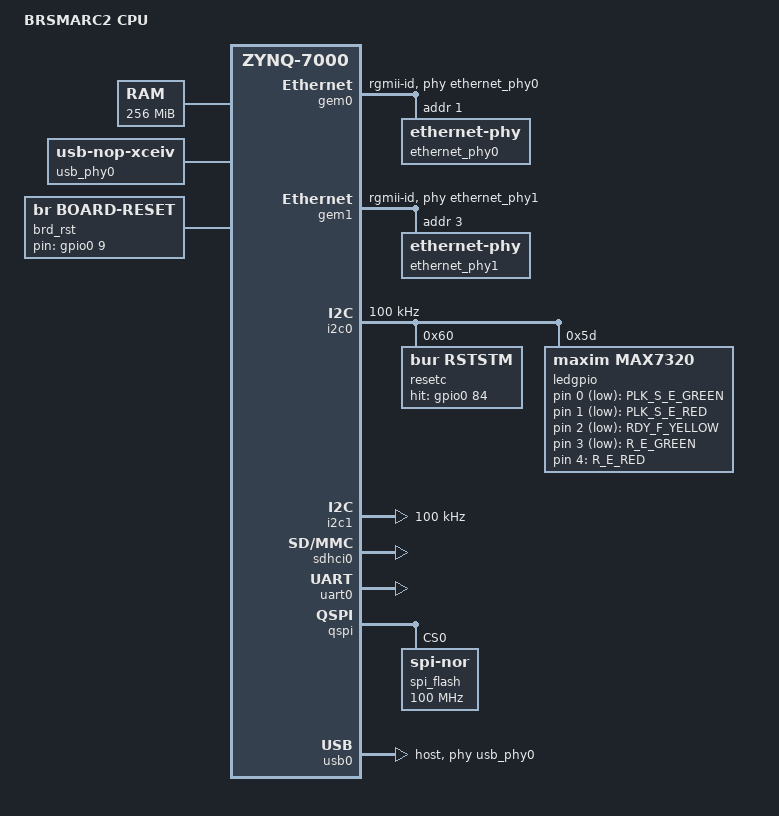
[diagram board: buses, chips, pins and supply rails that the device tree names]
// SPDX-License-Identifier: GPL-2.0+
/*
 * Copyright 2024 B&R Industrial Automation GmbH
 */

/dts-v1/;
/include/ "zynq-7000.dtsi"
#include <dt-bindings/gpio/gpio.h>

/ {
	model = "BRSMARC2 CPU";
	compatible = "br,smarc2",
		     "xlnx,zynq-7000";

	aliases {
		i2c0 = &i2c0;
		serial0 = &uart0;
		spi0 = &qspi;
		mmc0 = &sdhci0;
		can0 = &can0;
		can1 = &can1;
	};

	memory {
		device_type = "memory";
		reg = <0x0 0x10000000>;
	};

	chosen {
		stdout-path = "serial0:115200n8";
	};

	usb_phy0: phy0 {
		compatible = "usb-nop-xceiv";
		#phy-cells = <0>;
	};

	brd_rst: board_reset {
		compatible = "br,board-reset";
		pin = <&gpio0 9 GPIO_ACTIVE_HIGH>;
	};

	leds {
		compatible = "gpio-leds";
		plk_se_green {
			label = "PLK_S_E_GREEN";
			gpios = <&ledgpio 0 GPIO_ACTIVE_LOW>;
			default-state = "off";
		};
		plk_se_red {
			label = "PLK_S_E_RED";
			gpios = <&ledgpio 1 GPIO_ACTIVE_LOW>;
			default-state = "off";
		};
		rdy_f_yellow {
			label = "RDY_F_YELLOW";
			gpios = <&ledgpio 2 GPIO_ACTIVE_LOW>;
			default-state = "off";
		};
		re_green {
			label = "R_E_GREEN";
			gpios = <&ledgpio 3 GPIO_ACTIVE_LOW>;
			default-state = "off";
		};
		re_red {
			label = "R_E_RED";
			gpios = <&ledgpio 4 GPIO_ACTIVE_HIGH>;
			default-state = "off";
		};
	};
};

&gem0 {
	status = "okay";
	phy-mode = "rgmii-id";
	phy-handle = <&ethernet_phy0>;

	ethernet_phy0: ethernet-phy@1 {
		ti,ledcr = <0x0480>;
		ti,rgmii-rxclk-shift;
		reg = <1>;
	};
};

&gem1 {
	status = "okay";
	phy-mode = "rgmii-id";
	phy-handle = <&ethernet_phy1>;
	mac-address = [ 00 00 00 00 00 00 ];

	ethernet_phy1: ethernet-phy@3{
		ti,ledcr = <0x0480>;
		reg = <3>;
	};
};

&i2c0 {
	status = "okay";
	clock-frequency = <100000>;

	resetc: rststm@60 {	/* reset controller */
		compatible = "bur,rststm";
		reg = <0x60>;
		hit-gpios = <&gpio0 84 GPIO_ACTIVE_HIGH>;
		cooling-min-state = <0>;
		cooling-max-state = <1>;	/* reset gets fired */
		#cooling-cells = <2>;		/* min followed by max */
	};

	ledgpio: max7320@5d {	/* board LED */
		status = "okay";
		compatible = "maxim,max7320";
		reg = <0x5d>;
		#gpio-cells = <2>;
		gpio-controller;
		ngpios = <8>;
	};
};

&i2c1 {
	status = "okay";
	clock-frequency = <100000>;
};

&sdhci0 {
	status = "okay";
	max-frequency = <25000000>;
};

&uart0 {
	status = "okay";
};

&qspi {
	status = "okay";
	spi-max-frequency = <100000000>;

	spi_flash: spiflash@0 {
		#address-cells = <1>;
		#size-cells = <1>;
		compatible = "jedec,spi-nor", "spi-flash", "s25fl256s1";
		spi-max-frequency = <100000000>;
		spi-cpol;
		spi-cpha;
		reg = <0>;
	};
};

&gpio0 {
	status = "okay";
};

&usb0 {
	status = "okay";
	dr_mode = "host";
	usb-phy = <&usb_phy0>;
};
